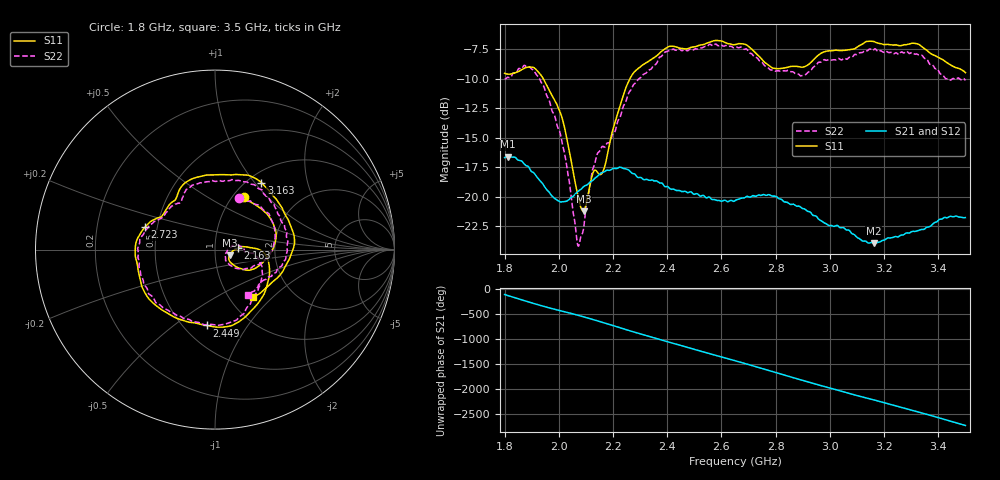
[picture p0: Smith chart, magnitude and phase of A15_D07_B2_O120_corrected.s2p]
! Created with skrf 1.9.0 (http://scikit-rf.org).
# Hz S RI R 50.0
!freq ReS11 ImS11 ReS21 ImS21 ReS12 ImS12 ReS22 ImS22
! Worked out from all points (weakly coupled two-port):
!   1601 points, 1.8 GHz to 3.5 GHz, reference 50 ohm
!   highest |S21| = -16.59 dB at 1.812 GHz (marker M1); lowest = -23.9 dB at 3.162 GHz (marker M2)
!   lowest |S11| = -21.2 dB at 2.091 GHz (marker M3), VSWR 1.19, Z = 58.7 - j3.71 ohm
!   |S11| at or under -10 dB: 1.943 GHz to 2.262 GHz (319.2 MHz wide, 15.2 % of centre)
!   |S22| runs from -24.2 to -7.1 dB; largest |S21 - S12| = 0.0029
!   S11 on the Smith chart (normalised r, x): 1.8 GHz: 1.13, +0.74; 2.163 GHz: 1.29, +0.03; 2.449 GHz: 0.64, -0.66; 2.723 GHz: 0.43, +0.13; 3.163 GHz: 1.15, +1.09; 3.5 GHz: 1.28, -0.76
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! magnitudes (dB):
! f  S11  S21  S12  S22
! 1.8 GHz  -9.5  -16.7  -16.7  -10.0
! 1.812 GHz  -9.6  -16.6  -16.6  -9.9
! 1.88 GHz  -9.0  -17.4  -17.3  -9.0
! 1.942 GHz  -10.0  -19.0  -18.9  -10.6
! 2.013 GHz  -13.3  -20.4  -20.4  -15.5
! 2.067 GHz  -19.5  -19.6  -19.6  -23.7
! 2.084 GHz  -21.0  -19.3  -19.3  -23.2
! 2.091 GHz  -21.2  -19.2  -19.2  -22.7
! 2.127 GHz  -17.9  -18.6  -18.6  -17.5
! 2.163 GHz  -17.8  -17.9  -17.9  -15.7
! 2.258 GHz  -10.2  -17.7  -17.7  -11.2
! 2.367 GHz  -7.9  -18.8  -18.7  -8.4
! 2.449 GHz  -7.4  -19.5  -19.5  -7.6
! 2.65 GHz  -7.1  -20.3  -20.3  -7.3
! 2.723 GHz  -7.8  -19.9  -19.9  -8.1
! 2.797 GHz  -9.1  -19.9  -19.9  -9.4
! 2.934 GHz  -8.5  -21.5  -21.4  -9.2
! 3.162 GHz  -6.8  -23.9  -23.9  -7.5
! 3.163 GHz  -6.8  -23.9  -23.9  -7.5
! 3.217 GHz  -7.1  -23.5  -23.5  -7.8
! 3.324 GHz  -7.0  -22.9  -22.8  -7.9
! 3.5 GHz  -9.5  -21.8  -21.8  -10.1
